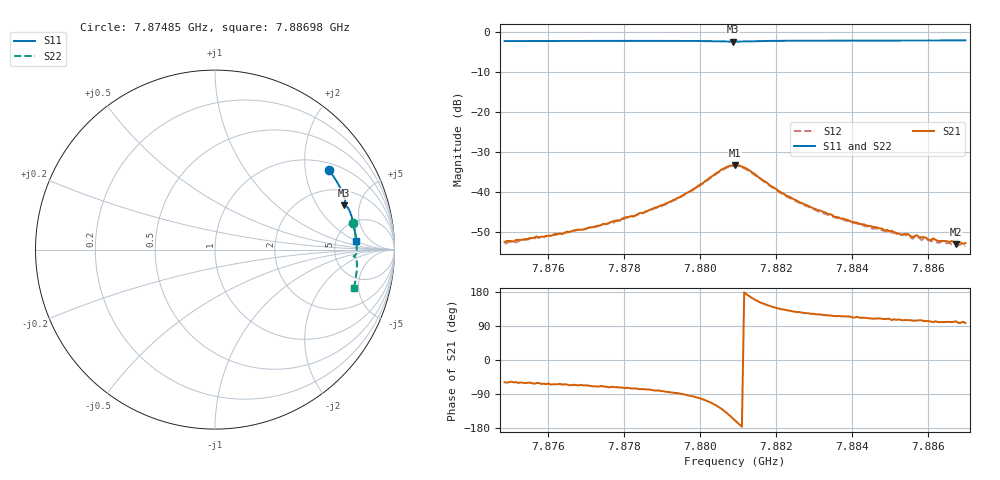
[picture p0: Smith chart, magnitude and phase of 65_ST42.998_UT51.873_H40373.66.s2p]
#  HZ  S  DB  R  50.00
! Rohde & Schwarz Vector Network Analyzer
! Rohde-Schwarz,ZNB20-2Port,1311601062101988,3.16
! Created: UTC 1/12/2023, 6:34:00 PM
! freq[Hz]  db:S11  ang:S11  db:S21  ang:S21  db:S12  ang:S12  db:S22  ang:S22
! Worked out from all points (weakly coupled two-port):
!   201 points, 7.87485 GHz to 7.88698 GHz, reference 50 ohm
!   highest |S21| = -33.24 dB at 7.88092 GHz (marker M1); lowest = -52.9 dB at 7.88674 GHz (marker M2)
!   lowest |S11| = -2.4 dB at 7.88086 GHz (marker M3), VSWR 7.40, Z = 151 + j178 ohm
!   |S11| at or under -10 dB: nowhere
!   |S22| runs from -2.2 to -1.9 dB; largest |S21 - S12| = 0.0014
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7.874852e9  -2.23 35.0  -52.43 -58.8  -52.89 -60.2  -2.14 10.9
7.876914e9  -2.20 29.3  -49.36 -66.9  -49.37 -70.4  -2.08 6.0
7.877885e9  -2.18 26.7  -47.13 -72.7  -46.96 -75.5  -2.07 3.8
7.878916e9  -2.17 23.8  -43.58 -80.3  -43.78 -85.2  -2.04 1.4
7.879462e9  -2.18 22.2  -41.27 -88.8  -41.32 -92.1  -2.06 -0.0
7.880553e9  -2.31 19.2  -34.43 -128.3  -34.67 -131.8  -2.18 -2.6
7.880857e9  -2.36 19.0  -33.28 -153.9  -33.50 -157.1  -2.23 -2.8
7.880917e9  -2.36 18.9  -33.24 -159.4  -33.43 -163.0  -2.23 -2.7
7.88122e9  -2.31 18.7  -34.10 173.5  -34.38 170.5  -2.20 -2.8
7.882312e9  -2.15 15.9  -41.00 130.6  -41.32 127.5  -2.02 -5.1
7.882979e9  -2.13 14.0  -44.06 122.0  -44.26 118.4  -1.98 -6.7
7.883525e9  -2.12 12.5  -46.13 116.2  -46.26 113.1  -1.96 -8.0
7.884981e9  -2.10 8.6  -49.81 109.0  -50.08 104.6  -1.94 -11.2
7.885406e9  -2.09 7.5  -50.51 105.6  -50.63 102.7  -1.94 -12.2
7.885588e9  -2.09 7.1  -51.25 104.1  -51.67 102.6  -1.93 -12.5
7.885709e9  -2.09 6.7  -50.76 104.4  -51.27 100.9  -1.92 -12.8
7.885769e9  -2.09 6.6  -51.39 104.9  -51.43 102.6  -1.93 -13.0
7.886255e9  -2.08 5.3  -52.18 100.0  -52.65 98.2  -1.92 -14.0
7.886376e9  -2.08 5.0  -52.17 99.8  -52.27 97.3  -1.92 -14.2
7.886619e9  -2.08 4.3  -52.23 100.0  -53.01 97.7  -1.92 -14.7
7.88674e9  -2.08 4.0  -52.94 102.1  -53.50 98.1  -1.93 -15.0
7.886983e9  -2.07 3.4  -52.72 97.7  -53.48 96.4  -1.92 -15.6
